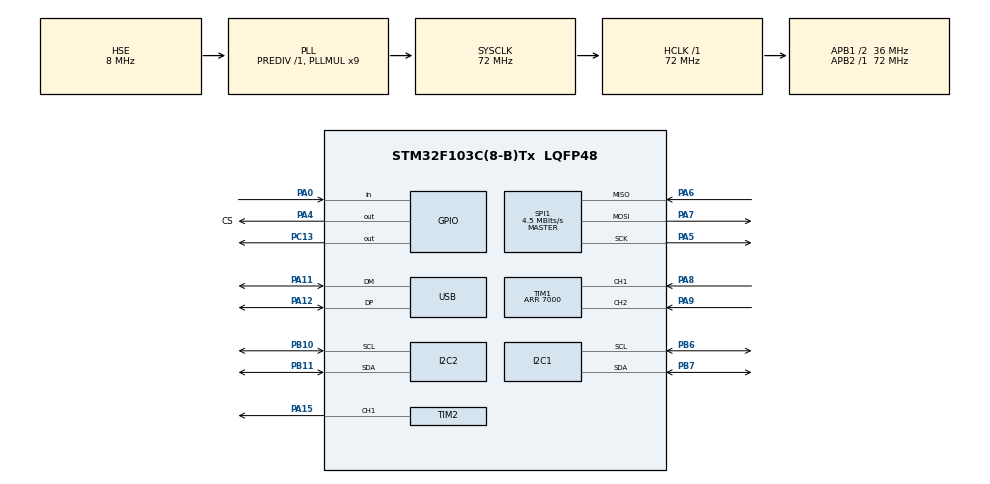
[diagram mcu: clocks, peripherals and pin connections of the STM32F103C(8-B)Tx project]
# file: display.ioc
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Mcu.Family=STM32F1
Mcu.Name=STM32F103C(8-B)Tx
Mcu.Package=LQFP48
NVIC.FLASH_IRQn=true\:0\:0\:false\:false\:true\:true\:true\:true
NVIC.I2C1_ER_IRQn=true\:0\:0\:false\:false\:true\:true\:true\:true
NVIC.I2C1_EV_IRQn=true\:0\:0\:false\:false\:true\:true\:true\:true
NVIC.I2C2_ER_IRQn=true\:0\:0\:false\:false\:true\:true\:true\:true
NVIC.I2C2_EV_IRQn=true\:0\:0\:false\:false\:true\:true\:true\:true
NVIC.PVD_IRQn=true\:0\:0\:false\:false\:true\:true\:true\:true
NVIC.PriorityGroup=NVIC_PRIORITYGROUP_4
NVIC.RCC_IRQn=true\:0\:0\:false\:false\:true\:true\:false\:true
NVIC.SPI1_IRQn=true\:0\:0\:false\:false\:true\:true\:true\:true
NVIC.TIM1_BRK_IRQn=true\:0\:0\:false\:false\:true\:true\:true\:true
NVIC.TIM1_CC_IRQn=true\:0\:0\:false\:false\:true\:true\:true\:true
NVIC.TIM1_TRG_COM_IRQn=true\:0\:0\:false\:false\:true\:true\:true\:true
NVIC.TIM1_UP_IRQn=true\:0\:0\:false\:false\:true\:true\:true\:true
NVIC.TIM2_IRQn=true\:0\:0\:false\:false\:true\:true\:true\:true
NVIC.USB_HP_CAN1_TX_IRQn=true\:0\:0\:false\:false\:true\:true\:true\:true
NVIC.USB_LP_CAN1_RX0_IRQn=true\:0\:0\:false\:false\:true\:false\:true\:true
PA0-WKUP.Signal=GPIO_Input
PA11.Mode=Device
PA11.Signal=USB_DM
PA12.Mode=Device
PA12.Signal=USB_DP
PA13.Mode=Serial_Wire
PA13.Signal=SYS_JTMS-SWDIO
PA14.Mode=Serial_Wire
PA14.Signal=SYS_JTCK-SWCLK
PA15.Signal=S_TIM2_CH1_ETR
PA4.GPIO_Label=CS
PA4.Signal=GPIO_Output
PA5.Mode=Full_Duplex_Master
PA5.Signal=SPI1_SCK
PA6.Mode=Full_Duplex_Master
PA6.Signal=SPI1_MISO
PA7.Mode=Full_Duplex_Master
PA7.Signal=SPI1_MOSI
PA8.Signal=S_TIM1_CH1
PA9.Signal=S_TIM1_CH2
PB10.Mode=I2C
PB10.Signal=I2C2_SCL
PB11.Mode=I2C
PB11.Signal=I2C2_SDA
PB6.Mode=I2C
PB6.Signal=I2C1_SCL
PB7.Mode=I2C
PB7.Signal=I2C1_SDA
PC13-TAMPER-RTC.Signal=GPIO_Output
PD0-OSC_IN.Mode=HSE-External-Oscillator
PD0-OSC_IN.Signal=RCC_OSC_IN
PD1-OSC_OUT.Mode=HSE-External-Oscillator
PD1-OSC_OUT.Signal=RCC_OSC_OUT
ProjectManager.HeapSize=0x200
ProjectManager.StackSize=0x400
ProjectManager.TargetToolchain=STM32CubeIDE
RCC.AHBFreq_Value=72000000
RCC.APB1CLKDivider=RCC_HCLK_DIV2
RCC.APB1Freq_Value=36000000
RCC.APB1TimFreq_Value=72000000
RCC.APB2Freq_Value=72000000
RCC.APB2TimFreq_Value=72000000
RCC.HCLKFreq_Value=72000000
RCC.PLLMUL=RCC_PLL_MUL9
RCC.PLLSourceVirtual=RCC_PLLSOURCE_HSE
RCC.SYSCLKFreq_VALUE=72000000
RCC.SYSCLKSource=RCC_SYSCLKSOURCE_PLLCLK
RCC.USBFreq_Value=48000000
RCC.USBPrescaler=RCC_USBCLKSOURCE_PLL_DIV1_5
SH.S_TIM1_CH1.0=TIM1_CH1,Encoder_Interface
SH.S_TIM1_CH2.0=TIM1_CH2,Encoder_Interface
SH.S_TIM2_CH1_ETR.0=TIM2_CH1,PWM Generation1 CH1
SPI1.BaudRatePrescaler=SPI_BAUDRATEPRESCALER_16
SPI1.CalculateBaudRate=4.5 MBits/s
SPI1.Direction=SPI_DIRECTION_2LINES
SPI1.Mode=SPI_MODE_MASTER
SPI1.VirtualType=VM_MASTER
TIM1.CounterMode=TIM_COUNTERMODE_UP
TIM1.EncoderMode=TIM_ENCODERMODE_TI12
TIM1.Period=7000
TIM2.Channel-PWM\ Generation1\ CH1=TIM_CHANNEL_1
TIM2.Period=999
TIM2.Prescaler=7199
TIM2.Pulse-PWM\ Generation1\ CH1=0
USB_DEVICE.CLASS_NAME_FS=CDC
USB_DEVICE.PRODUCT_STRING_CDC_FS=STM32 Virtual Port
USB_DEVICE.VirtualMode=Cdc
USB_DEVICE.VirtualModeFS=Cdc_FS
VP_USB_DEVICE_VS_USB_DEVICE_CDC_FS.Mode=CDC_FS
board=custom

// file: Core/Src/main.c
/* USER CODE BEGIN Header */
/**
  ******************************************************************************
  * @file           : main.c
  * @brief          : Main program body
  ******************************************************************************
  * @attention
  *
  * Copyright (c) 2025 STMicroelectronics.
  * All rights reserved.
  *
  * This software is licensed under terms that can be found in the LICENSE file
  * in the root directory of this software component.
  * If no LICENSE file comes with this software, it is provided AS-IS.
  *
  ******************************************************************************
  */
/* USER CODE END Header */
#include "main.h"
#include "usb_device.h"

/* USER CODE BEGIN Includes */
#include "stm32f1xx_hal_flash.h"
#include "ssd1306.h"
#include "ssd1306_fonts.h"
#include <math.h>
#include <string.h>
#include <stdio.h>
#include <stdint.h>
#include <stdlib.h>
#include "si5351.h"
#include "stm32f1xx_hal_i2c.h"
#include "socket.h"
#include "dhcp.h"
/* USER CODE END Includes */

/* USER CODE BEGIN PTD */
typedef struct {
    uint32_t magic;          // Метка валидности (0xDEADBEEF)
    int32_t  data[3]; // Полезные данные
} FlashData;
/* USER CODE END PTD */

/* USER CODE BEGIN PD */
#define FLASH_USER_START_ADDR  0x0801FC00  // Начало Page 127
#define ARRAY_SIZE 3           // Размер массива
#define FLASH_USER_START_ADDR  0x0801FC00  // Page 127
#define FLASH_MAGIC_NUMBER     0xDEADBEEF  // Метка валидности
//ethernet код
#define HTTP_SOCKET     0
#define PORT_TCPS        5000
#define DATA_BUF_SIZE 2048
#define DHCP_SOCKET     0
#define DNS_SOCKET      1
#define SOCK_TCPS       0
#define SOCK_UDPS       1
#define PORT_UDPS       3000
uint8_t gDATABUF[DATA_BUF_SIZE];
/* USER CODE END PD */

I2C_HandleTypeDef hi2c1;
I2C_HandleTypeDef hi2c2;

SPI_HandleTypeDef hspi1;

TIM_HandleTypeDef htim1;
TIM_HandleTypeDef htim2;

/* USER CODE BEGIN PV */

int32_t freq[3];//массив частот
int prev_encoder;//предыдущее значение энкодера
char choice;//переменная выбора, 0-энкодер не был нажат или был нажат чётное кол-во раз, 1- нечётное
char num_string [3][7];//массив частот в строках
uint8_t choiced_num;//порядковый номер выбранной цифры в значении частоты
uint8_t choiced_channel;//номер выбранного канала
char interface_mode;//0-интерфейс выбора канал, 1-интерфейс выбора частот
//ethernet код
uint8_t socket_status;
uint8_t RX_BUF[1024];
uint8_t TX_BUF[1024];
wiz_NetInfo net_info = {
    .mac  = { 0xDE, 0xAD, 0xBE, 0xEF, 0xFE, 0xED },
    .dhcp = NETINFO_DHCP
};

/* USER CODE END PV */

void SystemClock_Config(void);
static void MX_GPIO_Init(void);
static void MX_I2C1_Init(void);
static void MX_TIM1_Init(void);
static void MX_I2C2_Init(void);
static void MX_TIM2_Init(void);
static void MX_SPI1_Init(void);
/* USER CODE BEGIN PFP */

void set_freqq(uint8_t ch){
	if(ch==0){
		si5351_set_freq(freq[0]*1000*100ULL, SI5351_CLK0);
	}else if(ch==1){
		si5351_set_freq(freq[1]*1000*100ULL, SI5351_CLK1);
	}else{
		si5351_set_freq(freq[2]*1000*100ULL, SI5351_CLK2);
	}
}
void int_to_str(int num, char *str) {
    char tmp[12]; // Временный буфер
    int i = 0;

    // Обрабатываем 0 отдельно
    if (num == 0) {
        str[0] = '0';
        str[1] = '\0';
        return;
    }

    // Записываем цифры в обратном порядке
    while (num > 0) {
        tmp[i++] = '0' + (num % 10);
        num /= 10;
    }

    // Разворачиваем строку
    int j = 0;
    while (i-- > 0) {
        str[j++] = tmp[i];
    }
    str[j] = '\0';
}

char Is_Flash_Valid() {
    // Чтение метки из Flash
    uint32_t magic = *(__IO uint32_t*)FLASH_USER_START_ADDR;
    if(magic == FLASH_MAGIC_NUMBER){
    	return 1;
    }else{
    	return 0;
    }
    //return (magic == FLASH_MAGIC_NUMBER);
}

void Read_Flash_Array(int32_t *output) {
    if (!Is_Flash_Valid()) {
        // Данные не валидны (первый запуск)
        memset(output, 0, ARRAY_SIZE * sizeof(int32_t));
        return;
    }

    // Чтение данных (пропускаем метку)
    FlashData *flash_data = (FlashData*)FLASH_USER_START_ADDR;
    memcpy(output, flash_data->data, ARRAY_SIZE * sizeof(int32_t));
}

void Write_Flash_Array(int32_t *data) {
    HAL_FLASH_Unlock();

    // Стирание страницы
    FLASH_EraseInitTypeDef erase;
    erase.TypeErase = FLASH_TYPEERASE_PAGES;
    erase.PageAddress = FLASH_USER_START_ADDR;
    erase.NbPages = 1;

    uint32_t page_error;
    HAL_FLASHEx_Erase(&erase, &page_error);

    // Запись структуры (метка + данные)
    FlashData flash_data;
    flash_data.magic = FLASH_MAGIC_NUMBER;
    memcpy(flash_data.data, data, ARRAY_SIZE * sizeof(int32_t));

    // Запись по 16-битным полусловам
    uint32_t addr = FLASH_USER_START_ADDR;
    uint32_t *ptr = (uint32_t*)&flash_data;
    uint32_t size = sizeof(FlashData) / 2; // Количество 16-битных слов

    for (uint32_t i = 0; i < size; i++) {
        uint32_t value = ptr[i];
        HAL_FLASH_Program(FLASH_TYPEPROGRAM_HALFWORD, addr, value & 0xFFFF);
        HAL_FLASH_Program(FLASH_TYPEPROGRAM_HALFWORD, addr + 2, (value >> 16) & 0xFFFF);
        addr += 4;
    }

    HAL_FLASH_Lock();
}

int get_encoder(){
	return (int)TIM1->CNT/4;//для энкодера использующегося в проекте
}

void set_encoder(int e){
	TIM1->CNT=e*4;//для энкодера использующегося в проекте
}

void print_interface_mode0(){
	//далее 3 строки обычного вывода на дисплей строки
	ssd1306_SetCursor(1, 1);//установка курсора
	ssd1306_Fill(Black);//заполнение экрана чёрным(типа стирание)
	ssd1306_WriteString(num_string[0], Font_7x10, White);//отправка строки
	//далее выводятся строки, чтобы частоты каналов отображались корректно
	ssd1306_WriteString("   ", Font_7x10, White);
	ssd1306_WriteString(num_string[1], Font_7x10, White);
	ssd1306_SetCursor(1, 10);//для переноса на следующую строку
	ssd1306_WriteString(num_string[2], Font_7x10, White);
	ssd1306_WriteString("   ", Font_7x10, White);
	if(choiced_channel==0){
		ssd1306_WriteString("ch0", Font_7x10, White);
	}else if(choiced_channel==1){
		ssd1306_WriteString("ch1", Font_7x10, White);
	}else{
		ssd1306_WriteString("ch2", Font_7x10, White);
	}
	ssd1306_UpdateScreen();//самая важная функция, без которой что было отправлено на дисплей не отобразится
}

void print_interface_mode1(){
	//смысл такой-же, как и в mode0, но здесь цифра большего размера показывает, что она выбрана, а ^ указывает на изменение этой цифры
	ssd1306_SetCursor(1, 1);
	ssd1306_Fill(Black);
	if(choiced_num==0){
		uint16_t size=strlen(num_string[choiced_channel]);
		for(int i=size;i<6;++i){
			ssd1306_WriteString("0", Font_7x10, White);
		}
		ssd1306_WriteString(num_string[choiced_channel], Font_7x10, White);

		ssd1306_WriteString("   ", Font_7x10, White);
		ssd1306_WriteString("send", Font_11x18, White);
	}else{
		uint16_t size=strlen(num_string[choiced_channel]);
		for(int i=5;i>size-1;--i){
			if(i==choiced_num-1){
				ssd1306_WriteString("0", Font_11x18, White);
			}else{
				ssd1306_WriteString("0", Font_7x10, White);
			}
		}
		for(int i=0;i<size;++i){
			if(i==size-choiced_num){

				char str[2] = {num_string[choiced_channel][i], '\0'};
				ssd1306_WriteString(str, Font_11x18, White);
			}else{

				char str[2] = {num_string[choiced_channel][i], '\0'};
				ssd1306_WriteString(str, Font_7x10, White);
			}
		}
		ssd1306_WriteString("   ", Font_7x10, White);
		ssd1306_WriteString("send", Font_7x10, White);
		if(choice==1){
			ssd1306_SetCursor(1+((6-choiced_num)*7), 18);
			ssd1306_WriteString("^", Font_7x10, White);
		}

	}
	//проверка пределов значений частот и соответствуещие напоминания об этом
	if(freq[choiced_channel]==160000){
		ssd1306_SetCursor(77, 18);
		ssd1306_WriteString("MAX", Font_7x10, White);
	}else if(freq[choiced_channel]==8){
		ssd1306_SetCursor(77, 18);
		ssd1306_WriteString("MIN", Font_7x10, White);
	}
	ssd1306_UpdateScreen();
}

void int_mode_0(){

	if (HAL_GPIO_ReadPin(GPIOA, GPIO_PIN_0) == GPIO_PIN_RESET) {  // Если кнопка нажата (подтяжка к VCC)
		choice=1;
	}
	while (HAL_GPIO_ReadPin(GPIOA, GPIO_PIN_0) == GPIO_PIN_RESET);  // Ждём отпускания
	if(choice==0){
		//кнопка не нажата, смотрим значение энкодера и его остаток от деления даёт выбранный канал
		choiced_channel=get_encoder()%3;
		print_interface_mode0();
	}else if(choice==1){
		//был выбран канал и нажата кнопка, преключаем интерфейс на редактирование частоты
		set_encoder(1);
		choiced_num=1;//потому что есть send который будем считать за 0 положение
		interface_mode=1;
		choice=0;
		print_interface_mode1();
	}

}

//функция выставления минимальной частоты
void min_freq(){
	num_string[choiced_channel][0]='8';
	num_string[choiced_channel][1]='\0';
}
//функция выставления максимальной частоты
void max_freq(){
	num_string[choiced_channel][0]='1';
	num_string[choiced_channel][1]='6';
	num_string[choiced_channel][2]='0';
	num_string[choiced_channel][3]='0';
	num_string[choiced_channel][4]='0';
	num_string[choiced_channel][5]='0';
	num_string[choiced_channel][6]='\0';

}

void int_mode_1(){
	if (HAL_GPIO_ReadPin(GPIOA, GPIO_PIN_0) == GPIO_PIN_RESET) {  // Если кнопка нажата (подтяжка к VCC)
		//поменялось с 0 на 1 значит начали редактирование цифры, а если был выбран send(0), то происходит отправка частоты и изменение интерфейса на mode0
		if(choice==0){

			choice=1;
			if(choiced_num!=0){
				prev_encoder=1000;
				set_encoder(1000);

			}
		}else{
			//закончили редактирование цифры, устанавливаем энкодер на выбранную цифру(номер)
			choice=0;
			set_encoder(choiced_num);
		}

	}
	while (HAL_GPIO_ReadPin(GPIOA, GPIO_PIN_0) == GPIO_PIN_RESET);  // Ждём отпускания
	if(choice==0){
		choiced_num=get_encoder()%7;
		print_interface_mode1();
	}else if(choice==1){
		if(choiced_num==0){
			//отправка частоты
			choice=0;
			interface_mode=0;

			set_freqq(choiced_channel);
			//si5351_enableOutputs(0xFF);

			Write_Flash_Array(freq);//обновляем значение в памяти
			set_encoder(choiced_channel);
			print_interface_mode0();
		}else{
			//изменение цифры в значении частоты
			int delta = get_encoder();//минимизируем вызов функции

			freq[choiced_channel]+=(delta-prev_encoder)*pow(10,choiced_num-1);//сразу меняем частоту при изменении энкодера
			if(freq[choiced_channel]<0){
				freq[choiced_channel]=160000+freq[choiced_channel];//если частота очень мала делаем её почти максимальной
			}else if(freq[choiced_channel]>999999){
				freq[choiced_channel]=(7+(delta-prev_encoder)*pow(10,choiced_num-1));//если частота очень большая, то делаем её почти минимальной
			}
			prev_encoder=delta;
			//проверяем пределы
			if(freq[choiced_channel]<8){
				freq[choiced_channel]=8;
				min_freq();
			}else if(freq[choiced_channel]>160000){
				freq[choiced_channel]=160000;
				max_freq();
			}
			int_to_str(freq[choiced_channel],num_string[choiced_channel]);//обновляем строку с выбранной частотой
			print_interface_mode1();

		}
	}
}
uint32_t str_to_int(char* str){
    uint32_t ans = 0;
    uint8_t i = 0;

    // Обрабатываем цифры
    while(str[i] >= '0' && str[i] <= '9'){
        ans = ans * 10 + (str[i] - '0');
        i++;
    }

    return ans;
}
//ethernet код
void W5500_Select(void){
	HAL_GPIO_WritePin(CS_GPIO_Port, CS_Pin, GPIO_PIN_RESET);
}

void W5500_Unselect(void){
	HAL_GPIO_WritePin(CS_GPIO_Port, CS_Pin, GPIO_PIN_SET);
}

void W5500_ReadBuff(uint8_t* buff, uint16_t len){
	HAL_SPI_Receive(&hspi1,buff,len,HAL_MAX_DELAY);
}

void W5500_WriteBuff(uint8_t* buff,uint16_t len){
	HAL_SPI_Transmit(&hspi1,buff,len,HAL_MAX_DELAY);
}

uint8_t W5500_ReadByte(void){
	uint8_t byte;
	W5500_ReadBuff(&byte, sizeof(byte));
	return byte;
}

void W5500_WriteByte(uint8_t byte){
	W5500_WriteBuff(&byte, sizeof(byte));
}
volatile bool ip_assigned = false;
void Callback_IPAssigned(void) {
    ip_assigned = true;
}

void Callback_IPConflict(void) {
    ip_assigned = false;
}
uint8_t dhcp_buffer[1024];
uint8_t stat;
// Функция обработки клиентского подключения
void process_client_connection(uint8_t sn)
{
    int32_t received_len;
    uint8_t received_data[1024];

    // Главный цикл обработки соединения
    while(getSn_SR(sn) == SOCK_ESTABLISHED)
    {
        // Проверяем есть ли данные для чтения
        uint16_t available = getSn_RX_RSR(sn);

        if(available > 0)
        {
            // Читаем данные
            received_len = recv(sn, received_data, sizeof(received_data)-1);

            if(received_len > 0)
            {
            	received_data[received_len] = '\0';
                if(strstr((char*)received_data, "EXIT") != NULL)
                {
                    send(sn, (uint8_t*)"Goodbye!\r\n", 10);

                    break;
                }

                uint32_t r=str_to_int((char*)received_data);
                if(r>7 && r<=160000){
                	freq[choiced_channel]=r;
                }
                int_to_str(freq[choiced_channel], num_string[choiced_channel]);
                set_freqq(choiced_channel);//устанвливаем частоту введённую через ethernet
                Write_Flash_Array(freq);
                print_interface_mode0();
                HAL_GPIO_WritePin(GPIOC, GPIO_PIN_13, GPIO_PIN_RESET);
                send(sn, (uint8_t*)"OK\r\n", 4);

            }
        }
  	  uint32_t t=HAL_GetTick();

  	  while(t>HAL_GetTick()-10);
        // Небольшая задержка
    }

}
// Функция инициализации сервера
uint8_t init_server(uint8_t sn, uint16_t port)
{
    // Закрываем сокет если был открыт
    if(getSn_SR(sn) != SOCK_CLOSED) {
        close(sn);
    }

    // Создаем сокет
    if((stat = socket(sn, Sn_MR_TCP, port, 0)) != sn) {

        return 0;
    }

    // Слушаем порт
    if((stat = listen(sn)) != SOCK_OK) {
        close(sn);
        return 0;
    }

    return 1;
}
void ethernet_work(){
	// Мигание светодиодом в режиме ожидания
	          static uint32_t led_timer = 0;
	          if(HAL_GetTick() - led_timer > 500) {
	              HAL_GPIO_TogglePin(GPIOC, GPIO_PIN_13);
	              led_timer = HAL_GetTick();
	          }

	          // Проверяем статус сокета
	          socket_status = getSn_SR(HTTP_SOCKET);

	          switch(socket_status)
	          {
	              case SOCK_LISTEN:
	                  // Ожидаем подключения
	            	  uint32_t t=HAL_GetTick();
	            	  while(t>HAL_GetTick()-100);
	                  //HAL_Delay(100);
	                  break;

	              case SOCK_ESTABLISHED:
	                  // Клиент подключен - обрабатываем
	            	  if(interface_mode==0){
	                  HAL_GPIO_WritePin(GPIOC, GPIO_PIN_13, GPIO_PIN_RESET); // LED ON

	                  process_client_connection(HTTP_SOCKET);
	                  disconnect(HTTP_SOCKET);
	                  close(HTTP_SOCKET);
	                  // Переинициализируем сервер
	                  init_server(HTTP_SOCKET, 80);
	            	  }
	                  break;

	              case SOCK_CLOSED:
	                  // Сервер не запущен - пытаемся перезапустить
	                  HAL_GPIO_WritePin(GPIOC, GPIO_PIN_13, GPIO_PIN_SET); // LED OFF
	                  init_server(HTTP_SOCKET, 80);
	                  break;

	              default:
	                  // Неизвестный статус - перезапускаем

	                  close(HTTP_SOCKET);
	                  init_server(HTTP_SOCKET, 80);
	                  //HAL_Delay(1000);
	                  break;
	          }

	          //HAL_Delay(10);
}

uint8_t W5500Init() {
    uint8_t retry_count = 0;
    uint8_t success = 0;

    // Несколько попыток инициализации
    while (retry_count < 3 && !success) {
        // Регистрация callback функций
        reg_wizchip_cs_cbfunc(W5500_Select, W5500_Unselect);
        reg_wizchip_spi_cbfunc(W5500_ReadByte, W5500_WriteByte);
        reg_wizchip_spiburst_cbfunc(W5500_ReadBuff, W5500_WriteBuff);

        uint8_t rx_tx_buff_sizes[] = {2, 2, 2, 2, 2, 2, 2, 2};

        // Проверка инициализации W5500
        if (wizchip_init(rx_tx_buff_sizes, rx_tx_buff_sizes) == 0) {
            // Установка MAC адреса
            setSHAR(net_info.mac);

            // Инициализация DHCP
            DHCP_init(DHCP_SOCKET, dhcp_buffer);
            reg_dhcp_cbfunc(Callback_IPAssigned, Callback_IPAssigned, Callback_IPConflict);

            // Ожидание получения IP с таймаутом
            uint32_t timeout = 10000; // 10 секунд максимум
            ip_assigned = false;

            while (!ip_assigned && timeout > 0) {
                DHCP_run();
                timeout--;
                HAL_Delay(1);
            }

            if (ip_assigned) {
                getIPfromDHCP(net_info.ip);
                getGWfromDHCP(net_info.gw);
                getSNfromDHCP(net_info.sn);
                wizchip_setnetinfo(&net_info);
                success = 1;
                break;
            }
        }

        retry_count++;
        HAL_Delay(500); // Задержка между попытками
    }

    return success;
}
//функция для работы программы во время прерываний
void HAL_TIM_PeriodElapsedCallback(TIM_HandleTypeDef *htim)
{
    if (htim->Instance == TIM2)
    {
    	//uint8_t socket_status = getSn_SR(HTTP_SOCKET);
    	if(interface_mode==0 && socket_status!=SOCK_ESTABLISHED){
    		//ethernet_work();
    		int_mode_0();
    	}else if(interface_mode==1){
    		int_mode_1();
    	}
    }
}
/* USER CODE END PFP */

int main(void)
{

  /* MCU Configuration--------------------------------------------------------*/

  /* Reset of all peripherals, Initializes the Flash interface and the Systick. */
  HAL_Init();

  /* Configure the system clock */
  SystemClock_Config();

  /* Initialize all configured peripherals */
  MX_GPIO_Init();
  MX_I2C1_Init();
  MX_TIM1_Init();
  MX_I2C2_Init();
  MX_TIM2_Init();
  MX_USB_DEVICE_Init();
  MX_SPI1_Init();
  /* USER CODE BEGIN 2 */
  HAL_Delay(1000);
  W5500Init();
  HAL_TIM_Encoder_Start(&htim1, TIM_CHANNEL_ALL);
  ssd1306_Init();
  set_encoder(0);//выставление энкодера в 0
      freq[0]=8;//начальная минимальная частота канала 0
      freq[1]=8;//начальная минимальная частота канала 1
      freq[2]=8;//начальная минимальная частота канала 2

      if (Is_Flash_Valid()==0) {
          Write_Flash_Array(freq);
      }else{
    	  Read_Flash_Array(freq);
      }
      choice=0;//переменная для считывания был ли нажат энкодер
      //записываем частоты в строки для них
      int_to_str(freq[2],num_string[2]);
      int_to_str(freq[1],num_string[1]);
      int_to_str(freq[0],num_string[0]);
      choiced_num=0;//переменная для определения выбранной цифры в массиве частоты
      choiced_channel=0;// номер выбранного канала
      interface_mode=0;//переменная для определения что должно показыватиься на экране(0-значения частот, 1-редактирование частоты)
      prev_encoder=8;
      print_interface_mode0();
      HAL_TIM_Base_Start_IT(&htim2);  // Запуск таймера с прерыванием
      // Инициализация W5500

            int32_t si5351_FREQ_CORR = 0;
            uint8_t si5351_XTAL = 25;
            si5351_init(&hi2c1, SI5351_BUS_BASE_ADDR, SI5351_CRYSTAL_LOAD_0PF, si5351_XTAL*1000000, si5351_FREQ_CORR);

            si5351_drive_strength(SI5351_CLK0, SI5351_DRIVE_8MA);
            si5351_drive_strength(SI5351_CLK1, SI5351_DRIVE_8MA);
            si5351_drive_strength(SI5351_CLK2, SI5351_DRIVE_8MA);

            si5351_set_freq(freq[0]*1000*100ULL, SI5351_CLK0);
            si5351_set_freq(freq[1]*1000*100ULL, SI5351_CLK1);
            si5351_set_freq(freq[2]*1000*100ULL, SI5351_CLK2);

  /* USER CODE END 2 */

  /* Infinite loop */
  while (1)
  {

    /* USER CODE BEGIN 3 */

	  ethernet_work();

  }
  /* USER CODE END 3 */
}

void SystemClock_Config(void)
{
  RCC_OscInitTypeDef RCC_OscInitStruct = {0};
  RCC_ClkInitTypeDef RCC_ClkInitStruct = {0};
  RCC_PeriphCLKInitTypeDef PeriphClkInit = {0};

  /** Initializes the RCC Oscillators according to the specified parameters
  * in the RCC_OscInitTypeDef structure.
  */
  RCC_OscInitStruct.OscillatorType = RCC_OSCILLATORTYPE_HSE;
  RCC_OscInitStruct.HSEState = RCC_HSE_ON;
  RCC_OscInitStruct.HSEPredivValue = RCC_HSE_PREDIV_DIV1;
  RCC_OscInitStruct.HSIState = RCC_HSI_ON;
  RCC_OscInitStruct.PLL.PLLState = RCC_PLL_ON;
  RCC_OscInitStruct.PLL.PLLSource = RCC_PLLSOURCE_HSE;
  RCC_OscInitStruct.PLL.PLLMUL = RCC_PLL_MUL9;
  if (HAL_RCC_OscConfig(&RCC_OscInitStruct) != HAL_OK)
  {
    Error_Handler();
  }

  /** Initializes the CPU, AHB and APB buses clocks
  */
  RCC_ClkInitStruct.ClockType = RCC_CLOCKTYPE_HCLK|RCC_CLOCKTYPE_SYSCLK
                              |RCC_CLOCKTYPE_PCLK1|RCC_CLOCKTYPE_PCLK2;
  RCC_ClkInitStruct.SYSCLKSource = RCC_SYSCLKSOURCE_PLLCLK;
  RCC_ClkInitStruct.AHBCLKDivider = RCC_SYSCLK_DIV1;
  RCC_ClkInitStruct.APB1CLKDivider = RCC_HCLK_DIV2;
  RCC_ClkInitStruct.APB2CLKDivider = RCC_HCLK_DIV1;

  if (HAL_RCC_ClockConfig(&RCC_ClkInitStruct, FLASH_LATENCY_2) != HAL_OK)
  {
    Error_Handler();
  }
  PeriphClkInit.PeriphClockSelection = RCC_PERIPHCLK_USB;
  PeriphClkInit.UsbClockSelection = RCC_USBCLKSOURCE_PLL_DIV1_5;
  if (HAL_RCCEx_PeriphCLKConfig(&PeriphClkInit) != HAL_OK)
  {
    Error_Handler();
  }
}

static void MX_I2C1_Init(void)
{

  hi2c1.Instance = I2C1;
  hi2c1.Init.ClockSpeed = 100000;
  hi2c1.Init.DutyCycle = I2C_DUTYCYCLE_2;
  hi2c1.Init.OwnAddress1 = 0;
  hi2c1.Init.AddressingMode = I2C_ADDRESSINGMODE_7BIT;
  hi2c1.Init.DualAddressMode = I2C_DUALADDRESS_DISABLE;
  hi2c1.Init.OwnAddress2 = 0;
  hi2c1.Init.GeneralCallMode = I2C_GENERALCALL_DISABLE;
  hi2c1.Init.NoStretchMode = I2C_NOSTRETCH_DISABLE;
  if (HAL_I2C_Init(&hi2c1) != HAL_OK)
  {
    Error_Handler();
  }

}

static void MX_I2C2_Init(void)
{

  hi2c2.Instance = I2C2;
  hi2c2.Init.ClockSpeed = 100000;
  hi2c2.Init.DutyCycle = I2C_DUTYCYCLE_2;
  hi2c2.Init.OwnAddress1 = 0;
  hi2c2.Init.AddressingMode = I2C_ADDRESSINGMODE_7BIT;
  hi2c2.Init.DualAddressMode = I2C_DUALADDRESS_DISABLE;
  hi2c2.Init.OwnAddress2 = 0;
  hi2c2.Init.GeneralCallMode = I2C_GENERALCALL_DISABLE;
  hi2c2.Init.NoStretchMode = I2C_NOSTRETCH_DISABLE;
  if (HAL_I2C_Init(&hi2c2) != HAL_OK)
  {
    Error_Handler();
  }

}

static void MX_SPI1_Init(void)
{

  /* SPI1 parameter configuration*/
  hspi1.Instance = SPI1;
  hspi1.Init.Mode = SPI_MODE_MASTER;
  hspi1.Init.Direction = SPI_DIRECTION_2LINES;
  hspi1.Init.DataSize = SPI_DATASIZE_8BIT;
  hspi1.Init.CLKPolarity = SPI_POLARITY_LOW;
  hspi1.Init.CLKPhase = SPI_PHASE_1EDGE;
  hspi1.Init.NSS = SPI_NSS_SOFT;
  hspi1.Init.BaudRatePrescaler = SPI_BAUDRATEPRESCALER_16;
  hspi1.Init.FirstBit = SPI_FIRSTBIT_MSB;
  hspi1.Init.TIMode = SPI_TIMODE_DISABLE;
  hspi1.Init.CRCCalculation = SPI_CRCCALCULATION_DISABLE;
  hspi1.Init.CRCPolynomial = 10;
  if (HAL_SPI_Init(&hspi1) != HAL_OK)
  {
    Error_Handler();
  }

}

static void MX_TIM1_Init(void)
{

  TIM_Encoder_InitTypeDef sConfig = {0};
  TIM_MasterConfigTypeDef sMasterConfig = {0};

  htim1.Instance = TIM1;
  htim1.Init.Prescaler = 0;
  htim1.Init.CounterMode = TIM_COUNTERMODE_UP;
  htim1.Init.Period = 7000;
  htim1.Init.ClockDivision = TIM_CLOCKDIVISION_DIV1;
  htim1.Init.RepetitionCounter = 0;
  htim1.Init.AutoReloadPreload = TIM_AUTORELOAD_PRELOAD_DISABLE;
  sConfig.EncoderMode = TIM_ENCODERMODE_TI12;
  sConfig.IC1Polarity = TIM_ICPOLARITY_RISING;
  sConfig.IC1Selection = TIM_ICSELECTION_DIRECTTI;
  sConfig.IC1Prescaler = TIM_ICPSC_DIV1;
  sConfig.IC1Filter = 0;
  sConfig.IC2Polarity = TIM_ICPOLARITY_RISING;
  sConfig.IC2Selection = TIM_ICSELECTION_DIRECTTI;
  sConfig.IC2Prescaler = TIM_ICPSC_DIV1;
  sConfig.IC2Filter = 0;
  if (HAL_TIM_Encoder_Init(&htim1, &sConfig) != HAL_OK)
  {
    Error_Handler();
  }
  sMasterConfig.MasterOutputTrigger = TIM_TRGO_RESET;
  sMasterConfig.MasterSlaveMode = TIM_MASTERSLAVEMODE_DISABLE;
  if (HAL_TIMEx_MasterConfigSynchronization(&htim1, &sMasterConfig) != HAL_OK)
  {
    Error_Handler();
  }

}

static void MX_TIM2_Init(void)
{

  TIM_MasterConfigTypeDef sMasterConfig = {0};
  TIM_OC_InitTypeDef sConfigOC = {0};

  htim2.Instance = TIM2;
  htim2.Init.Prescaler = 7199;
  htim2.Init.CounterMode = TIM_COUNTERMODE_UP;
  htim2.Init.Period = 999;
  htim2.Init.ClockDivision = TIM_CLOCKDIVISION_DIV1;
  htim2.Init.AutoReloadPreload = TIM_AUTORELOAD_PRELOAD_DISABLE;
  if (HAL_TIM_PWM_Init(&htim2) != HAL_OK)
  {
    Error_Handler();
  }
  sMasterConfig.MasterOutputTrigger = TIM_TRGO_RESET;
  sMasterConfig.MasterSlaveMode = TIM_MASTERSLAVEMODE_DISABLE;
  if (HAL_TIMEx_MasterConfigSynchronization(&htim2, &sMasterConfig) != HAL_OK)
  {
    Error_Handler();
  }
  sConfigOC.OCMode = TIM_OCMODE_PWM1;
  sConfigOC.Pulse = 0;
  sConfigOC.OCPolarity = TIM_OCPOLARITY_HIGH;
  sConfigOC.OCFastMode = TIM_OCFAST_DISABLE;
  if (HAL_TIM_PWM_ConfigChannel(&htim2, &sConfigOC, TIM_CHANNEL_1) != HAL_OK)
  {
    Error_Handler();
  }
  HAL_TIM_MspPostInit(&htim2);

}

static void MX_GPIO_Init(void)
{
  GPIO_InitTypeDef GPIO_InitStruct = {0};

  /* GPIO Ports Clock Enable */
  __HAL_RCC_GPIOC_CLK_ENABLE();
  __HAL_RCC_GPIOD_CLK_ENABLE();
  __HAL_RCC_GPIOA_CLK_ENABLE();
  __HAL_RCC_GPIOB_CLK_ENABLE();

  /*Configure GPIO pin Output Level */
  HAL_GPIO_WritePin(GPIOC, GPIO_PIN_13, GPIO_PIN_RESET);

  /*Configure GPIO pin Output Level */
  HAL_GPIO_WritePin(CS_GPIO_Port, CS_Pin, GPIO_PIN_RESET);

  /*Configure GPIO pin : PC13 */
  GPIO_InitStruct.Pin = GPIO_PIN_13;
  GPIO_InitStruct.Mode = GPIO_MODE_OUTPUT_PP;
  GPIO_InitStruct.Pull = GPIO_NOPULL;
  GPIO_InitStruct.Speed = GPIO_SPEED_FREQ_LOW;
  HAL_GPIO_Init(GPIOC, &GPIO_InitStruct);

  /*Configure GPIO pin : PA0 */
  GPIO_InitStruct.Pin = GPIO_PIN_0;
  GPIO_InitStruct.Mode = GPIO_MODE_INPUT;
  GPIO_InitStruct.Pull = GPIO_NOPULL;
  HAL_GPIO_Init(GPIOA, &GPIO_InitStruct);

  /*Configure GPIO pin : CS_Pin */
  GPIO_InitStruct.Pin = CS_Pin;
  GPIO_InitStruct.Mode = GPIO_MODE_OUTPUT_PP;
  GPIO_InitStruct.Pull = GPIO_NOPULL;
  GPIO_InitStruct.Speed = GPIO_SPEED_FREQ_LOW;
  HAL_GPIO_Init(CS_GPIO_Port, &GPIO_InitStruct);

}

void Error_Handler(void)
{
  __disable_irq();
  while (1)
  {
  }
}
